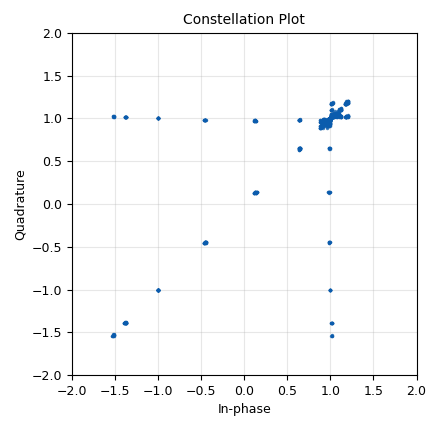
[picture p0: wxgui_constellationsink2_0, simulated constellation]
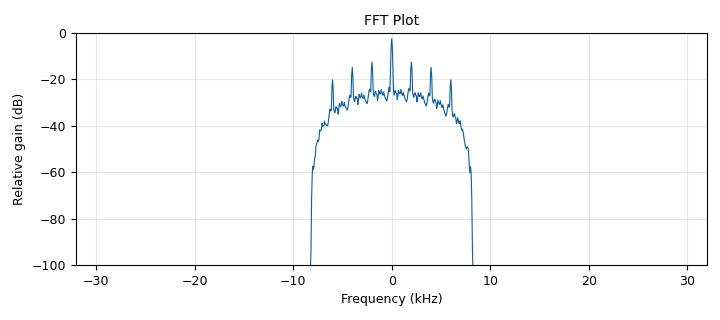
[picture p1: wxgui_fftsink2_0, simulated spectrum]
<?xml version='1.0' encoding='utf-8'?>
<flow_graph>
<block>
<key>options</key>
<param><key>id</key><value>top_block</value></param>
<param><key>generate_options</key><value>wx_gui</value></param>
<param><key>category</key><value>Custom</value></param>
</block>
<block>
<key>qtgui_time_sink_x</key>
<param><key>id</key><value>qtgui_time_sink_x_0</value></param>
<param><key>_enabled</key><value>False</value></param>
<param><key>type</key><value>complex</value></param>
<param><key>name</key><value>QT GUI Plot</value></param>
<param><key>size</key><value>1024</value></param>
<param><key>bw</key><value>samp_rate</value></param>
</block>
<block>
<key>gr_throttle</key>
<param><key>id</key><value>gr_throttle_0</value></param>
<param><key>type</key><value>complex</value></param>
<param><key>samples_per_second</key><value>samp_rate</value></param>
<param><key>vlen</key><value>1</value></param>
</block>
<block>
<key>gr_multiply_const_vxx</key>
<param><key>id</key><value>gr_multiply_const_vxx_0</value></param>
<param><key>type</key><value>complex</value></param>
<param><key>const</key><value>1*(1+1j)</value></param>
<param><key>vlen</key><value>1</value></param>
</block>
<block>
<key>random_source_x</key>
<param><key>id</key><value>random_source_x_0</value></param>
<param><key>type</key><value>byte</value></param>
<param><key>min</key><value>0</value></param>
<param><key>max</key><value>4</value></param>
<param><key>num_samps</key><value>1000*1000</value></param>
<param><key>repeat</key><value>True</value></param>
</block>
<block>
<key>wxgui_constellationsink2</key>
<param><key>id</key><value>wxgui_constellationsink2_0</value></param>
<param><key>title</key><value>Constellation Plot</value></param>
<param><key>samp_rate</key><value>samp_rate</value></param>
<param><key>frame_rate</key><value>5</value></param>
<param><key>const_size</key><value>1024</value></param>
<param><key>M</key><value>4</value></param>
<param><key>theta</key><value>0</value></param>
<param><key>loop_bw</key><value>6.28/100.0*0+1e-3</value></param>
<param><key>fmax</key><value>0.06</value></param>
<param><key>mu</key><value>0.5</value></param>
<param><key>gain_mu</key><value>0.005*0+10e-3</value></param>
<param><key>symbol_rate</key><value>samp_rate/4.</value></param>
<param><key>omega_limit</key><value>0.005</value></param>
</block>
<block>
<key>wxgui_fftsink2</key>
<param><key>id</key><value>wxgui_fftsink2_0</value></param>
<param><key>type</key><value>complex</value></param>
<param><key>title</key><value>FFT Plot</value></param>
<param><key>samp_rate</key><value>samp_rate</value></param>
<param><key>baseband_freq</key><value>0</value></param>
<param><key>y_per_div</key><value>10</value></param>
<param><key>y_divs</key><value>10</value></param>
<param><key>ref_level</key><value>0</value></param>
<param><key>ref_scale</key><value>2.0</value></param>
<param><key>fft_size</key><value>1024</value></param>
<param><key>fft_rate</key><value>15</value></param>
<param><key>peak_hold</key><value>False</value></param>
<param><key>average</key><value>True</value></param>
<param><key>avg_alpha</key><value>0</value></param>
<param><key>win</key><value>None</value></param>
<param><key>freqvar</key><value>None</value></param>
</block>
<block>
<key>variable</key>
<param><key>id</key><value>samp_rate</value></param>
<param><key>value</key><value>32000*2</value></param>
</block>
<block>
<key>digital_psk_mod</key>
<param><key>id</key><value>digital_psk_mod_0</value></param>
<param><key>constellation_points</key><value>4</value></param>
<param><key>mod_code</key><value>"none"</value></param>
<param><key>differential</key><value>False</value></param>
<param><key>samples_per_symbol</key><value>4*2</value></param>
<param><key>excess_bw</key><value>1</value></param>
</block>
<connection><source_block_id>random_source_x_0</source_block_id><sink_block_id>digital_psk_mod_0</sink_block_id><source_key>0</source_key><sink_key>0</sink_key></connection>
<connection><source_block_id>digital_psk_mod_0</source_block_id><sink_block_id>gr_multiply_const_vxx_0</sink_block_id><source_key>0</source_key><sink_key>0</sink_key></connection>
<connection><source_block_id>gr_multiply_const_vxx_0</source_block_id><sink_block_id>gr_throttle_0</sink_block_id><source_key>0</source_key><sink_key>0</sink_key></connection>
<connection><source_block_id>gr_throttle_0</source_block_id><sink_block_id>qtgui_time_sink_x_0</sink_block_id><source_key>0</source_key><sink_key>0</sink_key></connection>
<connection><source_block_id>gr_throttle_0</source_block_id><sink_block_id>wxgui_constellationsink2_0</sink_block_id><source_key>0</source_key><sink_key>0</sink_key></connection>
<connection><source_block_id>gr_throttle_0</source_block_id><sink_block_id>wxgui_fftsink2_0</sink_block_id><source_key>0</source_key><sink_key>0</sink_key></connection>
</flow_graph>
